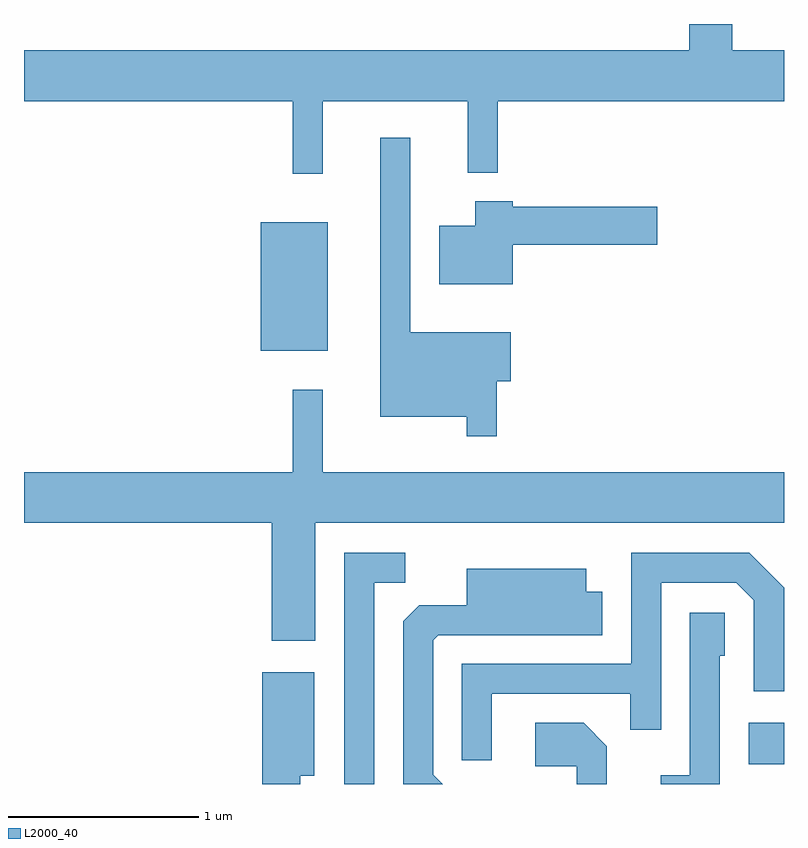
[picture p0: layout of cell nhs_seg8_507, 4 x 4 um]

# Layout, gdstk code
import gdstk
lib = gdstk.Library(unit=1e-6, precision=1e-09)
def R(c, l, rs):  # rectangles x0, y0, x1, y1
    for r in rs: c.add(gdstk.rectangle(r[:2], r[2:], *l))
def P(c, l, *ps):  # polygons
    for p in ps: c.add(gdstk.Polygon(p, *l))
L2000_40 = (2000, 40)

nhs_seg8_507 = lib.new_cell('nhs_seg8_507')
R(nhs_seg8_507, L2000_40, [(203.426,1868.446,203.611,1868.664), (200.856,1870.621,201.209,1871.299)])
P(nhs_seg8_507, L2000_40, [(201.184,1871.936),(201.946,1871.936),(201.946,1871.558),(202.104,1871.558),(202.104,1871.936),(203.611,1871.936),(203.611,1872.204),(203.339,1872.204),(203.339,1872.342),(203.111,1872.342),(203.111,1872.204),(199.611,1872.204),(199.611,1871.936),(201.026,1871.936),(201.026,1871.553),(201.184,1871.553)],
  [(202.099,1870.461),(202.174,1870.461),(202.174,1870.719),(201.644,1870.719),(201.644,1871.743),(201.486,1871.743),(201.486,1870.276),(201.941,1870.276),(201.941,1870.173),(202.099,1870.173)],
  [(202.184,1871.181),(202.944,1871.181),(202.944,1871.379),(202.184,1871.379),(202.184,1871.409),(201.986,1871.409),(201.986,1871.279),(201.796,1871.279),(201.796,1870.971),(202.184,1870.971)],
  [(201.144,1869.716),(203.611,1869.716),(203.611,1869.984),(201.184,1869.984),(201.184,1870.418),(201.026,1870.418),(201.026,1869.984),(199.611,1869.984),(199.611,1869.716),(200.916,1869.716),(200.916,1869.096),(201.144,1869.096)],
  [(201.454,1869.401),(201.618,1869.401),(201.618,1869.559),(201.296,1869.559),(201.296,1868.342),(201.454,1868.342)],
  [(202.074,1868.816),(202.801,1868.816),(202.801,1868.628),(202.964,1868.628),(202.964,1869.401),(203.359,1869.401),(203.451,1869.309),(203.451,1868.831),(203.611,1868.831),(203.611,1869.375),(203.427,1869.559),(202.806,1869.559),(202.806,1868.974),(201.916,1868.974),(201.916,1868.468),(202.074,1868.468)],
  [(201.764,1868.392),(201.764,1869.099),(201.792,1869.126),(202.654,1869.126),(202.654,1869.354),(202.569,1869.354),(202.569,1869.474),(201.941,1869.474),(201.941,1869.284),(201.692,1869.284),(201.606,1869.199),(201.606,1868.342),(201.814,1868.342)],
  [(203.274,1869.016),(203.299,1869.016),(203.299,1869.244),(203.116,1869.244),(203.116,1868.389),(202.963,1868.389),(202.963,1868.342),(203.274,1868.342)],
  [(201.064,1868.386),(201.139,1868.386),(201.139,1868.929),(200.866,1868.929),(200.866,1868.342),(201.064,1868.342)],
  [(202.679,1868.542),(202.557,1868.664),(202.301,1868.664),(202.301,1868.436),(202.521,1868.436),(202.521,1868.342),(202.679,1868.342)])

lib.write_gds('nhs_seg8_507.gds')
